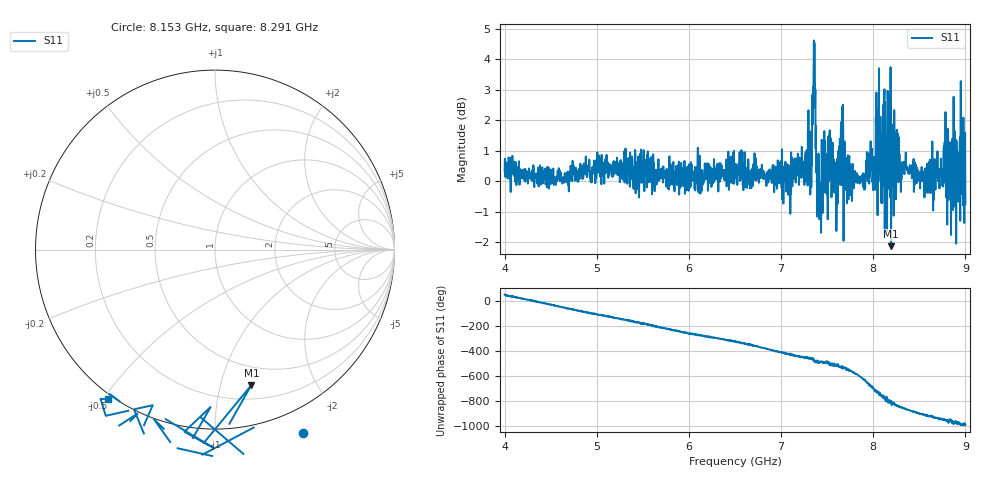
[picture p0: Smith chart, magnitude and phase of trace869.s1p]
! Created with skrf 1.8.0 (http://scikit-rf.org).
# Hz S RI R 50.0
!freq ReS11 ImS11
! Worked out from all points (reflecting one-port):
!   1601 points, 4 GHz to 9 GHz, reference 50 ohm
!   lowest |S11| = -2.1 dB at 8.194 GHz (marker M1), VSWR 8.17, Z = 16.1 - j62.6 ohm
!   phase of S11 starts at 55 deg and turns -1045 deg over the sweep
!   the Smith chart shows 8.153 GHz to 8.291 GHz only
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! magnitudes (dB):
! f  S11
! 4 GHz  0.3
! 4.625 GHz  -0.1
! 5.25 GHz  0.0
! 5.875 GHz  -0.1
! 6.5 GHz  0.4
! 7.125 GHz  0.1
! 7.309 GHz  1.0
! 7.356 GHz  4.6
! 7.412 GHz  -0.6
! 7.478 GHz  1.3
! 7.538 GHz  1.4
! 7.591 GHz  0.1
! 7.65 GHz  1.9
! 7.75 GHz  0.2
! 8 GHz  -0.1
! 8.053 GHz  1.1
! 8.072 GHz  1.5
! 8.134 GHz  0.8
! 8.194 GHz  -2.1
! 8.216 GHz  0.8
! 8.375 GHz  0.4
! 8.578 GHz  -0.1
! 8.734 GHz  0.7
! 8.788 GHz  0.1
! 8.825 GHz  0.0
! 8.919 GHz  -0.5
! 8.972 GHz  0.5
! 9 GHz  -0.8
